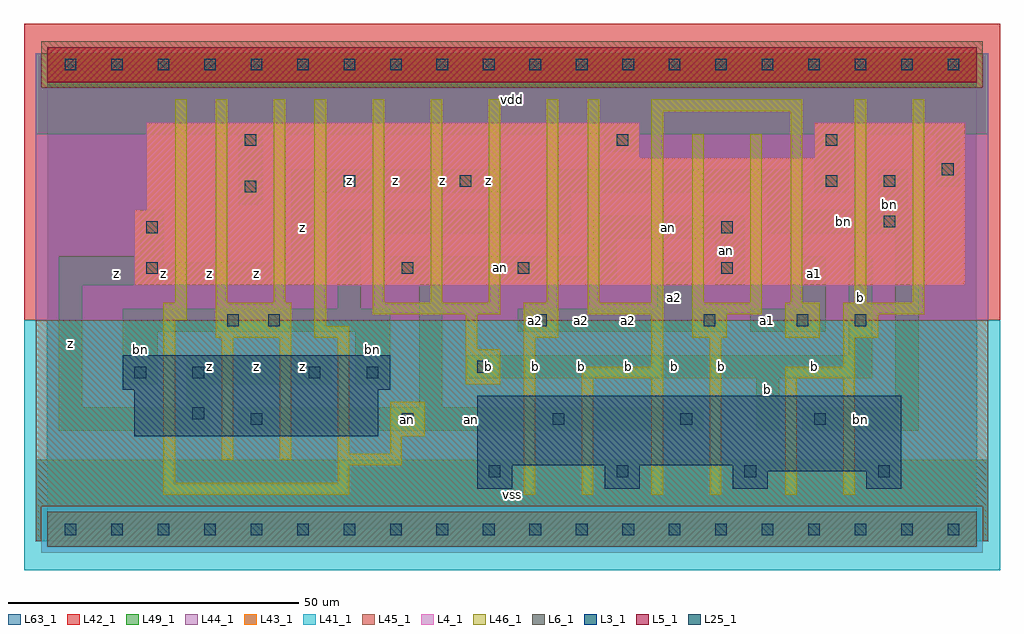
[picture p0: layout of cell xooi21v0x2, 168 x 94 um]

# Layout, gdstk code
import gdstk
lib = gdstk.Library(unit=1e-6, precision=1e-09)
def R(c, l, rs):  # rectangles x0, y0, x1, y1
    for r in rs: c.add(gdstk.rectangle(r[:2], r[2:], *l))
def A(c, l, x, y, w, h, nx, ny, dx, dy):  # array of equal rectangles
    R(c, l, [(x+i*dx, y+j*dy, x+i*dx+w, y+j*dy+h) for i in range(nx) for j in range(ny)])
L3_1 = (3, 1)
L4_1 = (4, 1)
L5_1 = (5, 1)
L6_1 = (6, 1)
L25_1 = (25, 1)
L41_1 = (41, 1)
L42_1 = (42, 1)
L43_1 = (43, 1)
L44_1 = (44, 1)
L45_1 = (45, 1)
L46_1 = (46, 1)
L49_1 = (49, 1)
L63_1 = (63, 1)

xooi21v0x2 = lib.new_cell('xooi21v0x2')
R(xooi21v0x2, L3_1, [(74,7,80,11), (96,7,102,11), (118,7,124,10), (141,7,147,10), (118,10,147,11), (74,11,147,23), (15,16,57,24), (13,24,59,30)])
R(xooi21v0x2, L4_1, [(15,42,158,55), (17,55,158,64), (17,64,102,70), (132,64,158,70)])
R(xooi21v0x2, L5_1, [(0,77,160,83)])
R(xooi21v0x2, L6_1, [(0,-3,160,3), (0,-3,160,3)])
A(xooi21v0x2, L25_1, 3, -1, 2, 2, 20, 2, 8, 80)
A(xooi21v0x2, L25_1, 76, 9, 2, 2, 3, 1, 22, 0)
A(xooi21v0x2, L25_1, 35, 18, 2, 2, 3, 1, 26, 0)
R(xooi21v0x2, L25_1, [(143,9,145,11), (109,18,111,20), (132,18,134,20), (25,19,27,21), (15,26,17,28), (25,26,27,28), (45,26,47,28), (55,26,57,28), (74,27,76,29), (31,35,33,37), (38,35,40,37), (84,35,86,37), (113,35,115,37), (129,35,131,37), (139,35,141,37), (17,44,19,46), (61,44,63,46), (81,44,83,46), (116,44,118,46), (17,51,19,53), (116,51,118,53), (144,52,146,54), (34,58,36,60), (51,59,53,61), (71,59,73,61), (134,59,136,61), (144,59,146,61), (154,61,156,63), (34,66,36,68), (98,66,100,68), (134,66,136,68)])
R(xooi21v0x2, L41_1, [(-4,-7,164,36)])
R(xooi21v0x2, L42_1, [(-4,36,164,87)])
R(xooi21v0x2, L43_1, [(0,-3,160,3), (74,7,80,11), (96,7,102,11), (118,7,124,10), (141,7,147,10), (118,10,147,11), (74,11,147,23), (15,16,57,24), (13,24,59,30), (15,42,158,55), (17,55,158,64), (17,64,102,70), (132,64,158,70), (0,77,160,83)])
R(xooi21v0x2, L44_1, [(-1,-4,161,4), (-2,36,162,76), (-2,76,-1,82), (161,76,162,82)])
R(xooi21v0x2, L45_1, [(-2,-2,-1,4), (161,-2,162,4), (-2,4,162,36), (-1,76,161,84)])
A(xooi21v0x2, L46_1, 56, 39, 2, 35, 4, 1, 10, 0)
R(xooi21v0x2, L46_1, [(20,6,52,8), (82,6,84,33), (92,6,94,26), (104,6,106,26), (114,6,116,33), (127,6,129,26), (137,6,139,26), (20,8,22,36), (50,8,52,11), (50,11,61,13), (30,12,32,33), (40,12,42,33), (50,13,52,33), (59,13,61,16), (59,16,65,22), (72,25,78,31), (92,26,106,28), (127,26,139,28), (104,28,106,37), (137,28,139,33), (72,31,74,37), (29,33,42,39), (46,33,52,35), (82,33,88,39), (111,33,117,37), (127,33,133,39), (137,33,143,37), (46,35,48,74), (20,36,24,39), (56,37,78,39), (93,37,106,39), (111,37,123,39), (137,37,151,39), (22,39,24,74), (29,39,31,74), (39,39,41,74), (93,39,95,74), (104,39,106,72), (111,39,113,68), (121,39,123,68), (128,39,130,72), (139,39,141,74), (149,39,151,74), (104,72,130,74)])
R(xooi21v0x2, L49_1, [(-2,-2,162,12), (2,17,28,21), (33,17,113,21), (122,17,126,26), (130,17,150,21), (2,21,6,42), (24,21,28,25), (64,21,68,43), (146,21,150,51), (13,25,19,34), (24,25,49,30), (53,25,59,34), (72,26,142,30), (138,30,142,47), (13,34,59,38), (81,34,117,38), (121,34,134,38), (50,38,54,51), (105,38,111,46), (130,38,134,47), (2,42,46,46), (115,42,120,50), (59,43,98,47), (2,46,20,47), (42,46,46,58), (16,47,20,55), (94,47,98,50), (94,50,120,54), (50,51,90,55), (124,51,150,55), (86,55,90,58), (124,55,128,58), (143,55,148,62), (33,56,37,68), (42,58,79,62), (86,58,128,62), (132,58,138,68), (153,59,157,68), (96,65,102,68), (-2,68,162,82)])
R(xooi21v0x2, L63_1, [(0,0,160,80)])
xooi21v0x2.add(gdstk.Label('an', (62,19), layer=49, texttype=1))
xooi21v0x2.add(gdstk.Label('z', (4,32), layer=49, texttype=1))
xooi21v0x2.add(gdstk.Label('bn', (16,31), layer=49, texttype=1))
xooi21v0x2.add(gdstk.Label('z', (12,44), layer=49, texttype=1))
xooi21v0x2.add(gdstk.Label('z', (20,44), layer=49, texttype=1))
xooi21v0x2.add(gdstk.Label('z', (28,28), layer=49, texttype=1))
xooi21v0x2.add(gdstk.Label('z', (36,28), layer=49, texttype=1))
xooi21v0x2.add(gdstk.Label('z', (44,28), layer=49, texttype=1))
xooi21v0x2.add(gdstk.Label('bn', (56,31), layer=49, texttype=1))
xooi21v0x2.add(gdstk.Label('z', (28,44), layer=49, texttype=1))
xooi21v0x2.add(gdstk.Label('z', (36,44), layer=49, texttype=1))
xooi21v0x2.add(gdstk.Label('z', (44,52), layer=49, texttype=1))
xooi21v0x2.add(gdstk.Label('z', (52,60), layer=49, texttype=1))
xooi21v0x2.add(gdstk.Label('z', (60,60), layer=49, texttype=1))
xooi21v0x2.add(gdstk.Label('vss', (80,6), layer=49, texttype=1))
xooi21v0x2.add(gdstk.Label('b', (76,28), layer=49, texttype=1))
xooi21v0x2.add(gdstk.Label('b', (84,28), layer=49, texttype=1))
xooi21v0x2.add(gdstk.Label('b', (92,28), layer=49, texttype=1))
xooi21v0x2.add(gdstk.Label('a2', (84,36), layer=49, texttype=1))
xooi21v0x2.add(gdstk.Label('a2', (92,36), layer=49, texttype=1))
xooi21v0x2.add(gdstk.Label('z', (68,60), layer=49, texttype=1))
xooi21v0x2.add(gdstk.Label('z', (76,60), layer=49, texttype=1))
xooi21v0x2.add(gdstk.Label('vdd', (80,74), layer=49, texttype=1))
xooi21v0x2.add(gdstk.Label('b', (100,28), layer=49, texttype=1))
xooi21v0x2.add(gdstk.Label('an', (73,19), layer=49, texttype=1))
xooi21v0x2.add(gdstk.Label('b', (108,28), layer=49, texttype=1))
xooi21v0x2.add(gdstk.Label('b', (116,28), layer=49, texttype=1))
xooi21v0x2.add(gdstk.Label('b', (124,24), layer=49, texttype=1))
xooi21v0x2.add(gdstk.Label('a2', (100,36), layer=49, texttype=1))
xooi21v0x2.add(gdstk.Label('an', (78,45), layer=49, texttype=1))
xooi21v0x2.add(gdstk.Label('a2', (108,40), layer=49, texttype=1))
xooi21v0x2.add(gdstk.Label('a1', (124,36), layer=49, texttype=1))
xooi21v0x2.add(gdstk.Label('an', (117,48), layer=49, texttype=1))
xooi21v0x2.add(gdstk.Label('an', (107,52), layer=49, texttype=1))
xooi21v0x2.add(gdstk.Label('b', (132,28), layer=49, texttype=1))
xooi21v0x2.add(gdstk.Label('bn', (140,19), layer=49, texttype=1))
xooi21v0x2.add(gdstk.Label('a1', (132,44), layer=49, texttype=1))
xooi21v0x2.add(gdstk.Label('b', (140,40), layer=49, texttype=1))
xooi21v0x2.add(gdstk.Label('bn', (137,53), layer=49, texttype=1))
xooi21v0x2.add(gdstk.Label('bn', (145,56), layer=49, texttype=1))

lib.write_gds('xooi21v0x2.gds')
